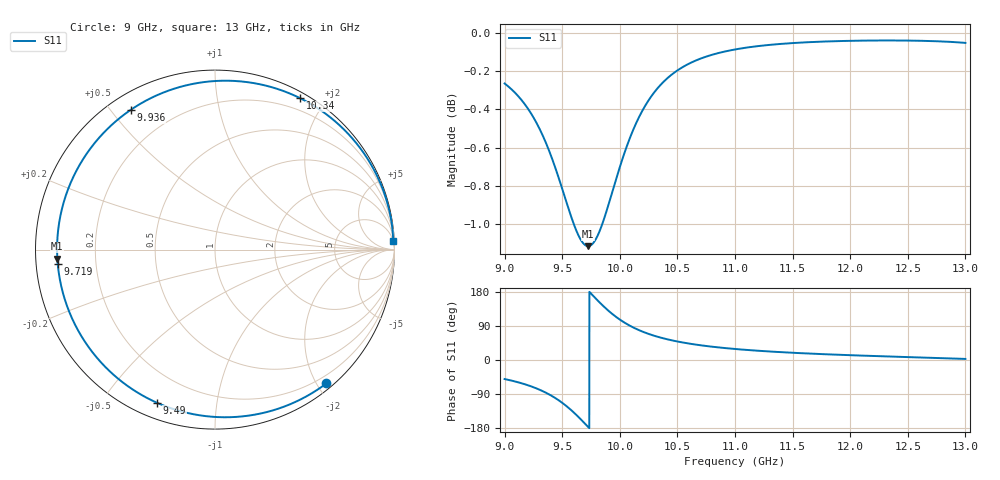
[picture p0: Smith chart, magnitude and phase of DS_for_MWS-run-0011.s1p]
! TOUCHSTONE file generated by CST DESIGN STUDIO
! Date and time: Tue Feb  4 17:15:06 2025
! Project name: C:\Work\MatlabApps\UnitCellOptimizationMatlab\CST\unitcell.cst
! Tree item: Tasks\Sweep1\SPara1\S-Parameters
! Header version: 2024
! Port assignment regex: !\s*Touchstone port\s*([0-9]+)\s*=\s*(CST MWS port|CST DES external port|CST DES block port)\s*(.+)\s* \(\"(.*)\"\)(\s*mode\s*([0-9]+))?.*
! Touchstone port assignment:
! Touchstone port 1 = CST DES external port 1 ("")
# GHz S MA R 50
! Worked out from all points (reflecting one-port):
!   4001 points, 9 GHz to 13 GHz, reference 50 ohm
!   lowest |S11| = -1.1 dB at 9.725 GHz (marker M1), VSWR 15.63, Z = 3.2 - j1.44 ohm
!   phase of S11 starts at -50 deg and turns -307 deg over the sweep
!   S11 on the Smith chart (normalised r, x): 9 GHz: 0.08, -2.13; 9.49 GHz: 0.07, -0.69; 9.719 GHz: 0.06, -0.05; 9.936 GHz: 0.06, +0.56; 10.34 GHz: 0.06, +1.71; 13 GHz: 5, +39
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9  0.97 -50.2
9.135  0.9613 -60.3
9.261  0.9492 -73.1
9.391  0.9308 -91.6
9.443  0.9216 -101.0
9.49  0.9126 -110.7
9.5  0.9106 -112.9
9.553  0.9001 -125.7
9.604  0.8909 -139.5
9.665  0.8827 -157.7
9.719  0.8798 -174.8
9.725  0.8797 -176.7
9.77  0.8814 168.9
9.817  0.8866 154.2
9.877  0.8969 136.6
9.936  0.9091 121.2
10  0.9225 106.7
10.074  0.9364 92.7
10.163  0.9501 79.3
10.246  0.9598 69.3
10.336  0.9678 60.6
10.5  0.9776 48.8
10.718  0.985 38.2
11  0.99 29.1
11.5  0.9938 19.1
12  0.9951 12.7
12.5  0.9953 7.7
13  0.9939 2.9
